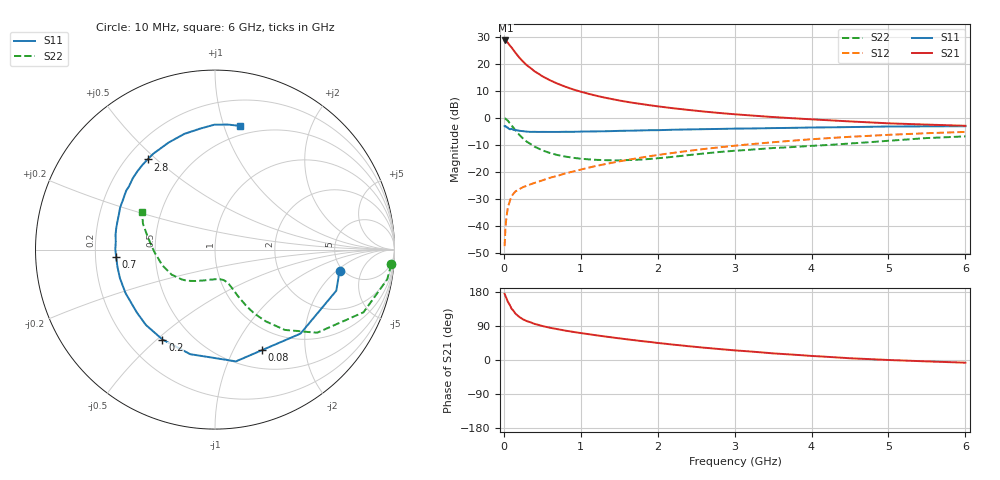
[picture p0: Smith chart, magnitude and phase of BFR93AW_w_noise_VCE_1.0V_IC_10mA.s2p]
! Infineon Technologies  Discrete & RF Semiconductors
! BFR93AW
! VCE =  1.0 V,  IC =  10 mA
! Common Emitter S-Parameters:  Jan 2017
# GHz  S  MA  R  50
!  f  S11  S21  S12  S22
! GHz  MAG  ANG  MAG  ANG  MAG  ANG  MAG  ANG
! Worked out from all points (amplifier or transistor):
!   77 points, 10 MHz to 6 GHz, reference 50 ohm
!   highest |S21| = 28.6 dB at 20 MHz (marker M1)
!   |S21| within 3 dB of that: start of sweep to 111.4 MHz
!   unconditionally stable (mu >= 1): 759.5 MHz to 2.51 GHz
!   at 130 MHz: K = 0.32, MSG = 26.3 dB, |S12| = -27.8 dB
!   at 2.2 GHz: K = 1.03, MAG = 7.2 dB, |S12| = -12.9 dB
!   at 6 GHz: K = 0.94, MSG = 1.1 dB, |S12| = -5.2 dB
!   lowest NFmin = 1.25 dB at 450 MHz
!   S11 on the Smith chart (normalised r, x): 10 MHz: 4.70, -2.19; 80 MHz: 0.72, -1.30; 200 MHz: 0.35, -0.52; 700 MHz: 0.29, -0.04; 2.8 GHz: 0.28, +0.47; 6 GHz: 0.42, +1.13
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0.01  0.704 -9.6  26.8 174.7  0.0043 88.7  0.9851 -4.8
0.02  0.7135 -18.7  26.94 169.4  0.0088 83.0  0.9739 -9.8
0.05  0.6678 -44.5  24.65 154.5  0.0212 71.0  0.8981 -22.9
0.08  0.6184 -65.1  21.6 144.0  0.0299 61.7  0.7918 -31.8
0.1  0.6336 -79.4  20.06 135.4  0.0359 58.0  0.7341 -39.1
0.15  0.5988 -103.3  16.04 122.6  0.044 50.7  0.5928 -49.0
0.2  0.5802 -120.3  13.07 113.8  0.0483 47.8  0.49 -54.7
0.25  0.5697 -132.5  10.96 107.2  0.053 46.9  0.4179 -58.4
0.3  0.5588 -141.3  9.354 102.5  0.0563 46.8  0.3632 -60.8
0.4  0.5543 -154.0  7.258 95.1  0.0633 48.4  0.2948 -63.5
0.5  0.5531 -163.2  5.888 89.7  0.0704 50.5  0.2527 -65.2
0.6  0.5521 -169.9  4.96 85.1  0.0787 52.7  0.2252 -66.7
0.7  0.552 -175.5  4.279 81.3  0.0858 54.7  0.2064 -68.1
0.9  0.5545 175.4  3.362 74.2  0.1027 57.6  0.1842 -71.9
1.1  0.5629 168.0  2.795 68.2  0.1208 59.0  0.1723 -76.6
1.5  0.5777 156.4  2.1 57.2  0.1578 59.8  0.1649 -89.8
2.1  0.6 141.4  1.574 42.9  0.2168 57.5  0.1858 -112.0
2.8  0.6274 126.8  1.236 28.9  0.2867 52.3  0.2353 -132.7
3.1  0.637 120.8  1.142 24.0  0.3169 49.5  0.2532 -140.4
4.1  0.6684 103.2  0.926 9.6  0.4133 39.0  0.3106 -166.3
5.1  0.6962 89.0  0.787 -0.7  0.4947 27.5  0.3878 167.8
6  0.7032 78.6  0.717 -7.1  0.5524 17.2  0.4575 152.8
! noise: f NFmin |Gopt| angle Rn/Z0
0.45  1.25  0.15  94  0.13
0.9  1.55  0.24  150  0.14
1.9  2.61  0.47  -148  0.18
2.4  3.24  0.54  -131  0.36
